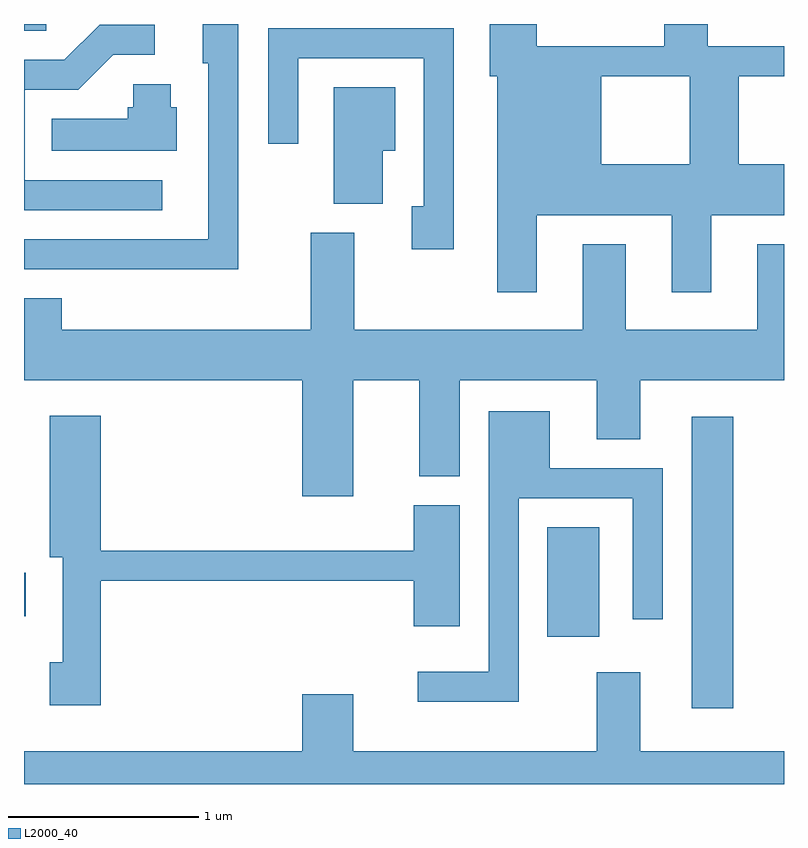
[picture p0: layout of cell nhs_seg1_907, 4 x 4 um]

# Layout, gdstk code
import gdstk
lib = gdstk.Library(unit=1e-6, precision=1e-09)
def R(c, l, rs):  # rectangles x0, y0, x1, y1
    for r in rs: c.add(gdstk.rectangle(r[:2], r[2:], *l))
def P(c, l, *ps):  # polygons
    for p in ps: c.add(gdstk.Polygon(p, *l))
L2000_40 = (2000, 40)

nhs_seg1_907 = lib.new_cell('nhs_seg1_907')
R(nhs_seg1_907, L2000_40, [(217.126,860.111,217.344,861.644), (216.366,860.486,216.639,861.064), (213.611,860.596,213.619,860.824), (213.611,863.676,213.729,863.712)])
P(nhs_seg1_907, L2000_40, [(216.309,862.301),(216.309,862.706),(217.021,862.706),(217.021,862.301),(217.229,862.301),(217.229,862.706),(217.611,862.706),(217.611,862.974),(217.374,862.974),(217.374,863.436),(217.611,863.436),(217.611,863.594),(217.209,863.594),(217.209,863.712),(216.981,863.712),(216.981,863.594),(216.309,863.594),(216.309,863.712),(216.061,863.712),(216.061,863.436),(216.101,863.436),(216.101,862.974),(216.649,862.974),(216.649,863.436),(217.116,863.436),(217.116,862.974),(216.649,862.974),(216.101,862.974),(216.101,862.301)],
  [(214.739,863.712),(214.551,863.712),(214.551,863.506),(214.581,863.506),(214.581,862.579),(213.611,862.579),(213.611,862.421),(214.739,862.421)],
  [(214.338,862.889),(213.614,862.889),(213.614,863.366),(213.897,863.366),(214.082,863.551),(214.298,863.551),(214.298,863.709),(214.009,863.709),(213.824,863.524),(213.611,863.524),(213.611,862.731),(214.338,862.731)],
  [(215.874,863.689),(214.896,863.689),(214.896,863.083),(215.054,863.083),(215.054,863.531),(215.716,863.531),(215.716,862.754),(215.651,862.754),(215.651,862.526),(215.874,862.526)],
  [(214.414,863.274),(214.384,863.274),(214.384,863.394),(214.186,863.394),(214.186,863.274),(214.156,863.274),(214.156,863.214),(213.758,863.214),(213.758,863.046),(214.414,863.046)],
  [(215.499,863.046),(215.564,863.046),(215.564,863.379),(215.241,863.379),(215.241,862.766),(215.499,862.766)],
  [(215.344,861.836),(215.691,861.836),(215.691,861.331),(215.904,861.331),(215.904,861.836),(216.626,861.836),(216.626,861.526),(216.854,861.526),(216.854,861.836),(217.611,861.836),(217.611,862.554),(217.471,862.554),(217.471,862.104),(216.779,862.104),(216.779,862.554),(216.551,862.554),(216.551,862.104),(215.349,862.104),(215.349,862.614),(215.121,862.614),(215.121,862.104),(213.809,862.104),(213.809,862.269),(213.611,862.269),(213.611,861.836),(215.076,861.836),(215.076,861.226),(215.344,861.226)],
  [(216.214,861.216),(216.816,861.216),(216.816,860.578),(216.974,860.578),(216.974,861.374),(216.379,861.374),(216.379,861.674),(216.056,861.674),(216.056,860.304),(215.683,860.304),(215.683,860.146),(216.214,860.146)],
  [(214.014,860.781),(215.661,860.781),(215.661,860.541),(215.904,860.541),(215.904,861.179),(215.661,861.179),(215.661,860.939),(214.014,860.939),(214.014,861.649),(213.746,861.649),(213.746,860.906),(213.816,860.906),(213.816,860.354),(213.746,860.354),(213.746,860.126),(214.014,860.126)],
  [(217.611,859.884),(216.854,859.884),(216.854,860.299),(216.626,860.299),(216.626,859.884),(215.344,859.884),(215.344,860.184),(215.076,860.184),(215.076,859.884),(213.611,859.884),(213.611,859.712),(217.611,859.712)])

lib.write_gds('nhs_seg1_907.gds')
